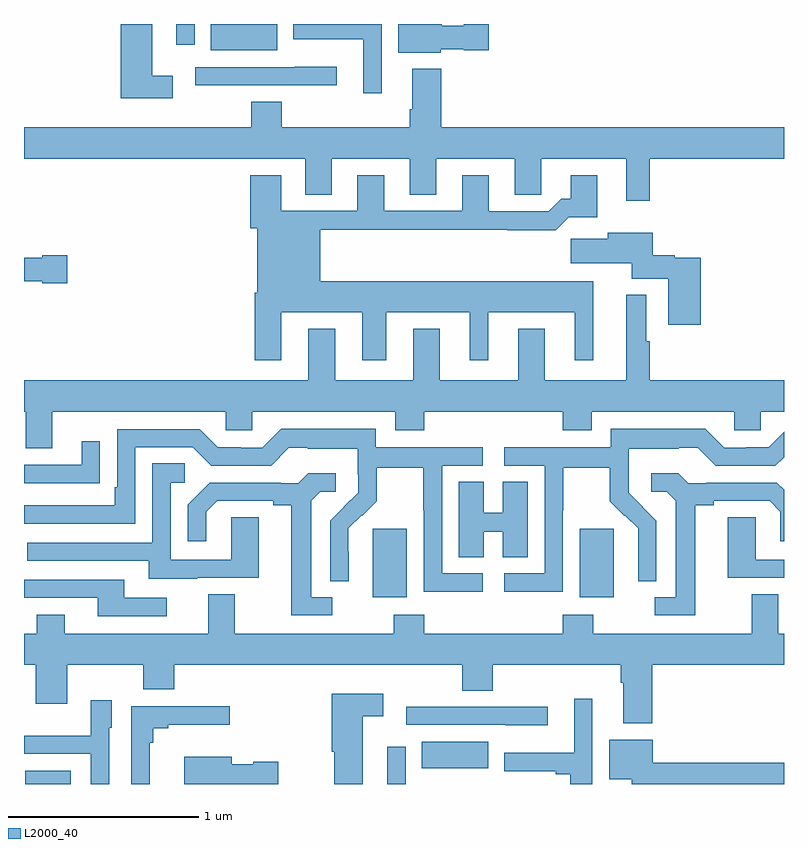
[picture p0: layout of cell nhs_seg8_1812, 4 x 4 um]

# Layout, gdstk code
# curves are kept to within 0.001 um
import gdstk
lib = gdstk.Library(unit=1e-6, precision=1e-09)
def R(c, l, rs):  # rectangles x0, y0, x1, y1
    for r in rs: c.add(gdstk.rectangle(r[:2], r[2:], *l))
def P(c, l, *ps):  # polygons
    for p in ps: c.add(gdstk.Polygon(p, *l))
L2000_40 = (2000, 40)

nhs_seg8_1812 = lib.new_cell('nhs_seg8_1812')
R(nhs_seg8_1812, L2000_40, [(227.006,1087.9,227.245,1087.969), (228.912,1087.9,229.008,1088.095), (229.093,1087.982,229.443,1088.122), (228.836,1088.882,229.015,1089.243), (229.925,1088.882,230.104,1089.243), (227.983,1091.762,228.333,1091.9), (227.802,1091.79,227.898,1091.9)])
P(nhs_seg8_1812, L2000_40, [(229.194,1091.768),(229.314,1091.768),(229.314,1091.761),(229.447,1091.761),(229.447,1091.9),(229.314,1091.9),(229.314,1091.89),(229.198,1091.89),(229.198,1091.9),(228.971,1091.9),(228.971,1091.75),(229.194,1091.75)],
  [(228.882,1091.9),(228.418,1091.9),(228.418,1091.819),(228.785,1091.819),(228.785,1091.535),(228.882,1091.535)],
  [(227.782,1091.627),(227.674,1091.627),(227.674,1091.9),(227.51,1091.9),(227.51,1091.51),(227.782,1091.51)],
  [(228.646,1091.674),(228.426,1091.674),(228.426,1091.673),(227.901,1091.673),(227.901,1091.577),(228.646,1091.577)],
  [(230.293,1091.192),(231,1091.192),(231,1091.356),(229.196,1091.356),(229.196,1091.665),(229.043,1091.665),(229.043,1091.452),(229.031,1091.452),(229.031,1091.356),(228.356,1091.356),(228.356,1091.492),(228.196,1091.492),(228.196,1091.356),(227,1091.356),(227,1091.192),(228.479,1091.192),(228.479,1091.002),(228.619,1091.002),(228.619,1091.192),(229.031,1091.192),(229.031,1091.002),(229.171,1091.002),(229.171,1091.192),(229.583,1091.192),(229.583,1091.002),(229.722,1091.002),(229.722,1091.192),(230.171,1091.192),(230.171,1090.971),(230.293,1090.971)],
  [(228.355,1090.382),(228.779,1090.382),(228.779,1090.131),(228.907,1090.131),(228.907,1090.382),(229.346,1090.382),(229.346,1090.131),(229.444,1090.131),(229.444,1090.382),(229.898,1090.382),(229.898,1090.131),(229.996,1090.131),(229.996,1090.546),(228.559,1090.546),(228.559,1090.816),(229.543,1090.816),(229.543,1090.814),(229.799,1090.814),(229.868,1090.883),(230.017,1090.883),(230.017,1091.104),(229.877,1091.104),(229.877,1090.981),(229.828,1090.981),(229.761,1090.914),(229.447,1090.914),(229.447,1091.104),(229.307,1091.104),(229.307,1090.917),(228.895,1090.917),(228.895,1091.104),(228.755,1091.104),(228.755,1090.917),(228.355,1090.917),(228.355,1091.104),(228.191,1091.104),(228.191,1090.824),(228.227,1090.824),(228.227,1090.486),(228.215,1090.486),(228.215,1090.131),(228.355,1090.131)],
  [(230.561,1090.669),(230.424,1090.669),(230.424,1090.682),(230.308,1090.682),(230.308,1090.801),(230.072,1090.801),(230.072,1090.769),(229.878,1090.769),(229.878,1090.64),(230.198,1090.64),(230.198,1090.559),(230.39,1090.559),(230.39,1090.317),(230.561,1090.317)],
  [(227.227,1090.682),(227.097,1090.682),(227.097,1090.669),(227,1090.669),(227,1090.547),(227.097,1090.547),(227.097,1090.535),(227.227,1090.535)],
  [(227.149,1089.86),(228.063,1089.86),(228.063,1089.762),(228.201,1089.762),(228.201,1089.86),(228.953,1089.86),(228.953,1089.761),(229.106,1089.761),(229.106,1089.86),(229.835,1089.86),(229.835,1089.761),(229.987,1089.761),(229.987,1089.86),(230.739,1089.86),(230.739,1089.762),(230.877,1089.762),(230.877,1089.86),(231,1089.86),(231,1090.024),(230.293,1090.024),(230.293,1090.229),(230.275,1090.229),(230.275,1090.474),(230.171,1090.474),(230.171,1090.024),(229.741,1090.024),(229.741,1090.297),(229.601,1090.297),(229.601,1090.024),(229.189,1090.024),(229.189,1090.297),(229.049,1090.297),(229.049,1090.024),(228.637,1090.024),(228.637,1090.297),(228.497,1090.297),(228.497,1090.024),(227,1090.024),(227,1089.86),(227.009,1089.86),(227.009,1089.666),(227.149,1089.666)],
  [(229.836,1089.34),(229.839,1089.34),(229.839,1089.564),(230.083,1089.564),(230.083,1089.389),(230.16,1089.312),(230.163,1089.315),(230.234,1089.245),(230.234,1089.122),(230.232,1089.122),(230.232,1088.968),(230.328,1088.968),(230.328,1089.286),(230.182,1089.434),(230.182,1089.531),(230.184,1089.531),(230.184,1089.665),(230.447,1089.665),(230.447,1089.669),(230.547,1089.669),(230.64,1089.576),(230.955,1089.576),(231,1089.621),(231,1089.753),(230.919,1089.672),(230.801,1089.672),(230.801,1089.669),(230.685,1089.669),(230.585,1089.769),(230.088,1089.769),(230.088,1089.672),(229.527,1089.672),(229.527,1089.576),(229.74,1089.576),(229.74,1089.009),(229.527,1089.009),(229.527,1088.911),(229.836,1088.911)],
  [(229.414,1089.009),(229.2,1089.009),(229.2,1089.576),(229.414,1089.576),(229.414,1089.672),(228.852,1089.672),(228.852,1089.769),(228.355,1089.769),(228.255,1089.669),(228.14,1089.669),(228.14,1089.672),(228.021,1089.672),(227.925,1089.768),(227.49,1089.768),(227.49,1089.463),(227.477,1089.463),(227.477,1089.366),(227,1089.366),(227,1089.27),(227.586,1089.27),(227.586,1089.672),(227.889,1089.672),(227.985,1089.576),(228.3,1089.576),(228.393,1089.669),(228.493,1089.669),(228.493,1089.665),(228.756,1089.665),(228.756,1089.531),(228.758,1089.531),(228.758,1089.434),(228.612,1089.286),(228.612,1088.968),(228.708,1088.968),(228.707,1089.245),(228.777,1089.315),(228.78,1089.312),(228.857,1089.389),(228.857,1089.564),(229.102,1089.564),(229.102,1089.34),(229.104,1089.34),(229.104,1088.911),(229.414,1088.911)],
  [(227.297,1089.484),(227.399,1089.484),(227.399,1089.703),(227.303,1089.703),(227.303,1089.579),(227,1089.579),(227,1089.483),(227.297,1089.483)],
  [(227.911,1088.985),(228.235,1088.985),(228.235,1089.305),(228.09,1089.305),(228.09,1089.081),(227.772,1089.081),(227.772,1089.486),(227.845,1089.486),(227.845,1089.587),(227.676,1089.587),(227.676,1089.171),(227.017,1089.171),(227.017,1089.075),(227.657,1089.075),(227.657,1088.981),(227.911,1088.981)],
  [(228.622,1088.883),(228.511,1088.883),(228.511,1089.391),(228.558,1089.438),(228.64,1089.438),(228.64,1089.535),(228.496,1089.535),(228.444,1089.483),(228.35,1089.483),(228.35,1089.486),(227.978,1089.486),(227.862,1089.37),(227.862,1089.177),(227.959,1089.177),(227.959,1089.333),(228.016,1089.39),(228.311,1089.39),(228.311,1089.368),(228.407,1089.368),(228.407,1088.787),(228.622,1088.787)],
  [(230.533,1089.368),(230.629,1089.368),(230.629,1089.39),(230.924,1089.39),(230.981,1089.333),(230.981,1089.177),(231,1089.177),(231,1089.448),(230.962,1089.486),(230.59,1089.486),(230.59,1089.483),(230.496,1089.483),(230.444,1089.535),(230.301,1089.535),(230.301,1089.438),(230.382,1089.438),(230.429,1089.391),(230.429,1088.883),(230.319,1088.883),(230.319,1088.787),(230.533,1088.787)],
  [(229.42,1089.227),(229.52,1089.227),(229.52,1089.094),(229.651,1089.094),(229.651,1089.491),(229.52,1089.491),(229.52,1089.327),(229.42,1089.327),(229.42,1089.491),(229.289,1089.491),(229.289,1089.094),(229.42,1089.094)],
  [(231,1089.081),(230.85,1089.081),(230.85,1089.305),(230.705,1089.305),(230.705,1088.985),(231,1088.985)],
  [(227.752,1088.88),(227.527,1088.88),(227.527,1088.976),(227,1088.976),(227,1088.88),(227.387,1088.88),(227.387,1088.784),(227.752,1088.784)],
  [(227.969,1088.9),(227.969,1088.692),(227.215,1088.692),(227.215,1088.791),(227.068,1088.791),(227.068,1088.692),(227,1088.692),(227,1088.528),(227.063,1088.528),(227.063,1088.322),(227.227,1088.322),(227.227,1088.528),(227.627,1088.528),(227.627,1088.4),(227.791,1088.4),(227.791,1088.528),(229.306,1088.528),(229.306,1088.392),(229.466,1088.392),(229.466,1088.528),(230.141,1088.528),(230.141,1088.432),(230.153,1088.432),(230.153,1088.219),(230.306,1088.219),(230.306,1088.528),(231,1088.528),(231,1088.692),(230.971,1088.692),(230.971,1088.9),(230.831,1088.9),(230.831,1088.692),(229.995,1088.692),(229.995,1088.791),(229.835,1088.791),(229.835,1088.692),(229.106,1088.692),(229.106,1088.791),(228.946,1088.791),(228.946,1088.692),(228.109,1088.692),(228.109,1088.9)],
  [(228.784,1088.257),(228.892,1088.257),(228.892,1088.374),(228.62,1088.374),(228.62,1088.07),(228.632,1088.07),(228.632,1087.9),(228.784,1087.9)],
  [(229.992,1088.35),(229.895,1088.35),(229.895,1088.065),(229.528,1088.065),(229.528,1087.966),(229.799,1087.966),(229.799,1087.952),(229.876,1087.952),(229.876,1087.9),(229.992,1087.9)],
  [(227.448,1088.196),(227.461,1088.196),(227.461,1088.341),(227.352,1088.341),(227.352,1088.155),(227.035,1088.155),(227.035,1088.154),(227,1088.154),(227,1088.058),(227.352,1088.058),(227.352,1087.9),(227.448,1087.9)],
  [(227.663,1088.117),(227.681,1088.117),(227.681,1088.194),(227.758,1088.194),(227.758,1088.213),(228.082,1088.213),(228.082,1088.31),(227.565,1088.31),(227.565,1087.9),(227.663,1087.9)],
  [(229.756,1088.307),(229.011,1088.307),(229.011,1088.211),(229.536,1088.211),(229.536,1088.21),(229.756,1088.21)],
  [(231,1088.012),(230.308,1088.012),(230.308,1088.134),(230.081,1088.134),(230.081,1087.925),(230.198,1087.925),(230.198,1087.9),(231,1087.9)],
  [(228.337,1088.018),(228.207,1088.018),(228.207,1088.005),(228.094,1088.005),(228.094,1088.044),(227.843,1088.044),(227.843,1087.9),(228.337,1087.9)])

lib.write_gds('nhs_seg8_1812.gds')
